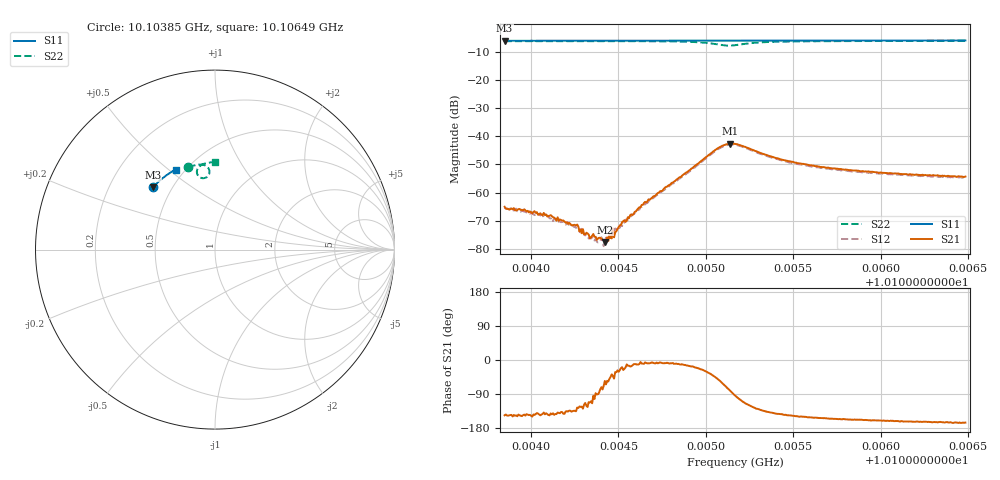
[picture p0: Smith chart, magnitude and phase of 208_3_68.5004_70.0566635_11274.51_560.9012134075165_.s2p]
#  HZ  S  RI  R  50.00
! Rohde & Schwarz Vector Network Analyzer
! Rohde-Schwarz,ZNB20-2Port,1311601062101988,3.16
! Created: UTC 3/20/2024, 5:13:03 PM
! freq[Hz]  re:S11  im:S11  re:S21  im:S21  re:S12  im:S12  re:S22  im:S22
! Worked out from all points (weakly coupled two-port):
!   401 points, 10.10385 GHz to 10.10649 GHz, reference 50 ohm
!   highest |S21| = -42.63 dB at 10.10514 GHz (marker M1); lowest = -77.5 dB at 10.10442 GHz (marker M2)
!   lowest |S11| = -6.2 dB at 10.10385 GHz (marker M3), VSWR 2.92, Z = 19.7 + j18 ohm
!   |S11| at or under -10 dB: nowhere
!   |S22| runs from -7.9 to -6.2 dB; largest |S21 - S12| = 0.00077
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1.0103848e10  -0.3452 0.3481  -0.000465 -0.000314  -0.000417 -0.000344  -0.1478 0.4594
1.0103947e10  -0.3411 0.3525  -0.00042 -0.000263  -0.000374 -0.000296  -0.1412 0.4615
1.0104053e10  -0.3367 0.3573  -0.000357 -0.000241  -0.000297 -0.000258  -0.134 0.464
1.0104118e10  -0.3338 0.3603  -0.000306 -0.000227  -0.000249 -0.000258  -0.1295 0.4654
1.0104224e10  -0.3293 0.3648  -0.000193 -0.000202  -0.000164 -0.000216  -0.1218 0.4675
1.0104257e10  -0.3277 0.3662  -0.000185 -0.000183  -0.000148 -0.000186  -0.1194 0.4682
1.010429e10  -0.3263 0.3673  -0.000104 -0.00016  -0.000118 -0.000196  -0.117 0.4688
1.0104376e10  -0.3226 0.3711  -2.27e-06 -0.000145  -1.15e-06 -0.000136  -0.1103 0.4703
1.0104422e10  -0.3206 0.373  7.62e-05 -0.00011  6.76e-05 -0.00012  -0.1067 0.4711
1.0104468e10  -0.3184 0.375  0.000171 -0.000159  0.000153 -0.000101  -0.103 0.4719
1.0104521e10  -0.3161 0.3771  0.000283 -9.69e-05  0.000252 -5.5e-05  -0.0985 0.4726
1.0104554e10  -0.3146 0.3785  0.000354 -9.51e-05  0.000325 -5.4e-05  -0.0954 0.4731
1.0104639e10  -0.3108 0.382  0.000597 -0.000103  0.000588 -5.16e-05  -0.0872 0.4739
1.0104732e10  -0.3065 0.3857  0.000996 -0.00013  0.000953 -2.96e-05  -0.0771 0.474
1.0104936e10  -0.297 0.3937  0.00279 -0.00098  0.0027 -0.000632  -0.046 0.4636
1.0105061e10  -0.2909 0.3982  0.00398 -0.00438  0.00419 -0.00379  -0.0318 0.4245
1.0105141e10  -0.2875 0.4008  0.00105 -0.00731  0.00165 -0.00695  -0.0659 0.3976
1.0105167e10  -0.2863 0.4018  -0.000458 -0.00728  0.00023 -0.00705  -0.0813 0.4012
1.0105418e10  -0.2743 0.4113  -0.00316 -0.00245  -0.00284 -0.00261  -0.086 0.4647
1.0105609e10  -0.2648 0.4181  -0.00267 -0.00142  -0.00241 -0.00158  -0.0662 0.4764
1.0106051e10  -0.2425 0.4327  -0.00209 -0.000722  -0.00194 -0.000869  -0.0301 0.485
1.0106486e10  -0.2195 0.4458  -0.00186 -0.000491  -0.00173 -0.000601  0.000718 0.488
